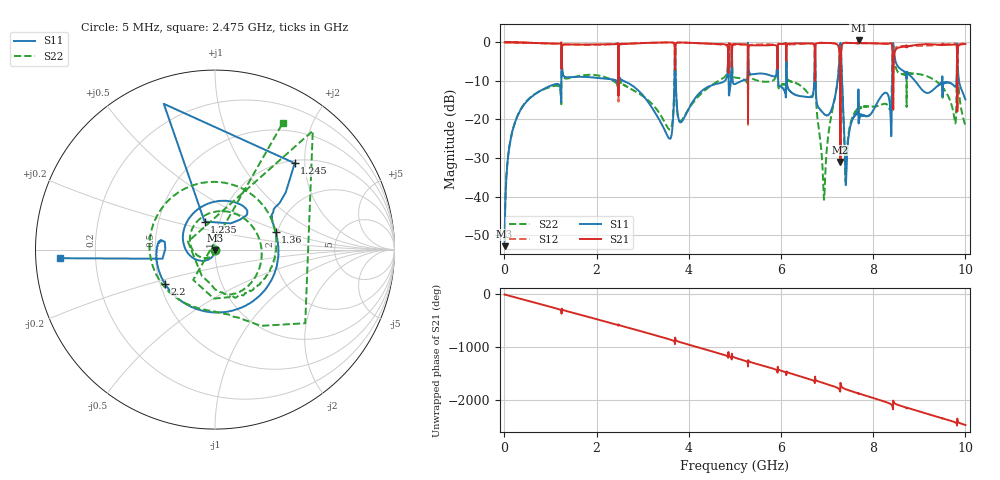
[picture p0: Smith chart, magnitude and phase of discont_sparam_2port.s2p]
#  Hz  S  RI  R  50
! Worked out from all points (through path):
!   2000 points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, 5 MHz to 10 GHz, reference 50 ohm
!   highest |S21| = 0.46 dB at 7.685 GHz (marker M1); lowest = -31.0 dB at 7.29 GHz (marker M2)
!   lowest |S11| = -52.8 dB at 5 MHz (marker M3), VSWR 1.00, Z = 50 - j0.229 ohm
!   |S11| at or under -10 dB: start of sweep to 1.237 GHz; 2.577 GHz to 3.689 GHz (1.112 GHz wide, 35.5 % of centre); 7.325 GHz to 8.411 GHz (1.087 GHz wide, 13.8 % of centre)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
!   |S22| runs from -51.4 to -0.2 dB; largest |S21 - S12| = 0.066
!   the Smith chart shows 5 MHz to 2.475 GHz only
!   S11 on the Smith chart (normalised r, x): 5 MHz: 1.00, -0.00; 1.235 GHz: 0.85, +0.27; 1.245 GHz: 1.06, +1.78; 1.36 GHz: 1.96, +0.43; 2.2 GHz: 0.53, -0.23; 2.475 GHz: 0.07, -0.03
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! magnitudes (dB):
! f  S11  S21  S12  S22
! 5 MHz  -52.8  0.0  0.0  -51.4
! 95 MHz  -28.1  0.0  0.0  -28.2
! 265 MHz  -19.6  0.0  -0.1  -19.5
! 1.235 GHz  -15.6  -0.2  -0.1  -16.1
! 1.245 GHz  -3.7  -2.6  -2.6  -3.8
! 1.36 GHz  -9.1  -0.6  -0.5  -9.4
! 1.675 GHz  -8.9  -0.6  -0.6  -8.6
! 2.2 GHz  -9.4  -0.6  -0.6  -9.1
! 2.475 GHz  -1.2  -13.9  -15.4  -1.9
! 3.34 GHz  -19.6  -0.1  -0.1  -18.0
! 5.005 GHz  -10.8  -0.5  -0.6  -9.2
! 6.67 GHz  -14.0  -0.3  -0.3  -14.2
! 6.755 GHz  -11.9  -0.4  -0.3  -12.1
! 6.94 GHz  -18.6  -0.2  -0.1  -39.7
! 7.29 GHz  -0.2  -31.0  -30.9  -0.2
! 7.415 GHz  -35.2  -0.2  -0.2  -32.4
! 7.685 GHz  -21.0  0.5  0.2  -19.2
! 8.335 GHz  -14.1  -0.4  -0.3  -16.8
! 8.465 GHz  -3.7  -2.8  -2.1  -4.7
! 9.75 GHz  -11.2  -0.6  -0.4  -18.9
! 9.855 GHz  -9.5  -0.8  -0.6  -11.9
! 10 GHz  -14.8  -0.5  -0.3  -21.5
